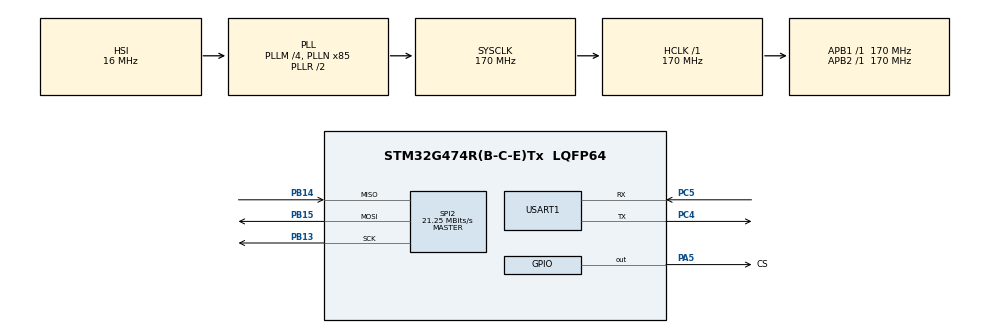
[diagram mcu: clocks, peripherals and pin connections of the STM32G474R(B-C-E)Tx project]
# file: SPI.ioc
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Mcu.Family=STM32G4
Mcu.Name=STM32G474R(B-C-E)Tx
Mcu.Package=LQFP64
NVIC.PriorityGroup=NVIC_PRIORITYGROUP_4
PA13.GPIO_Label=T_SWDIO
PA13.Mode=Serial_Wire
PA13.Signal=SYS_JTMS-SWDIO
PA14.GPIO_Label=T_SWCLK
PA14.Mode=Serial_Wire
PA14.Signal=SYS_JTCK-SWCLK
PA2.GPIO_Label=LPUART1_TX [STLINKV3E_VCP_RX]
PA2.Signal=LPUART1_TX
PA3.GPIO_Label=LPUART1_RX [STLINKV3E_VCP_TX]
PA3.Signal=LPUART1_RX
PA5.GPIO_Label=CS
PA5.Signal=GPIO_Output
PB13.Mode=Full_Duplex_Master
PB13.Signal=SPI2_SCK
PB14.Mode=Full_Duplex_Master
PB14.Signal=SPI2_MISO
PB15.Mode=Full_Duplex_Master
PB15.Signal=SPI2_MOSI
PB3.GPIO_Label=T_SWO
PB3.Signal=SYS_JTDO-SWO
PC14-OSC32_IN.GPIO_Label=RCC_OSC32_IN
PC14-OSC32_IN.Mode=LSE-External-Oscillator
PC14-OSC32_IN.Signal=RCC_OSC32_IN
PC15-OSC32_OUT.GPIO_Label=RCC_OSC32_OUT
PC15-OSC32_OUT.Mode=LSE-External-Oscillator
PC15-OSC32_OUT.Signal=RCC_OSC32_OUT
PC4.Mode=Asynchronous
PC4.Signal=USART1_TX
PC5.Mode=Asynchronous
PC5.Signal=USART1_RX
PF0-OSC_IN.GPIO_Label=RCC_OSC_IN
PF0-OSC_IN.Mode=HSE-External-Oscillator
PF0-OSC_IN.Signal=RCC_OSC_IN
PF1-OSC_OUT.GPIO_Label=RCC_OSC_OUT
PF1-OSC_OUT.Mode=HSE-External-Oscillator
PF1-OSC_OUT.Signal=RCC_OSC_OUT
ProjectManager.HeapSize=0x200
ProjectManager.StackSize=0x400
ProjectManager.TargetToolchain=CMake
RCC.ADC12Freq_Value=170000000
RCC.ADC345Freq_Value=170000000
RCC.AHBFreq_Value=170000000
RCC.APB1Freq_Value=170000000
RCC.APB1TimFreq_Value=170000000
RCC.APB2Freq_Value=170000000
RCC.APB2TimFreq_Value=170000000
RCC.CortexFreq_Value=170000000
RCC.EXTERNAL_CLOCK_VALUE=12288000
RCC.HCLKFreq_Value=170000000
RCC.HSE_VALUE=24000000
RCC.HSI48_VALUE=48000000
RCC.HSI_VALUE=16000000
RCC.PLLM=RCC_PLLM_DIV4
RCC.PLLN=85
RCC.RTCClockSelection=RCC_RTCCLKSOURCE_LSE
RCC.SYSCLKFreq_VALUE=170000000
RCC.SYSCLKSource=RCC_SYSCLKSOURCE_PLLCLK
RCC.USBFreq_Value=170000000
RCC.VCOOutputFreq_Value=340000000
SPI2.BaudRatePrescaler=SPI_BAUDRATEPRESCALER_8
SPI2.CalculateBaudRate=21.25 MBits/s
SPI2.DataSize=SPI_DATASIZE_16BIT
SPI2.Direction=SPI_DIRECTION_2LINES
SPI2.Mode=SPI_MODE_MASTER
SPI2.VirtualType=VM_MASTER
USART1.VirtualMode-Asynchronous=VM_ASYNC
VP_SYS_VS_DBSignals.Mode=DisableDeadBatterySignals
board=NUCLEO-G474RE

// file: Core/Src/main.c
/* USER CODE BEGIN Header */
/**
  ******************************************************************************
  * @file           : main.c
  * @brief          : Main program body
  ******************************************************************************
  * @attention
  *
  * Copyright (c) 2025 STMicroelectronics.
  * All rights reserved.
  *
  * This software is licensed under terms that can be found in the LICENSE file
  * in the root directory of this software component.
  * If no LICENSE file comes with this software, it is provided AS-IS.
  *
  ******************************************************************************
  */
/* USER CODE END Header */
#include "main.h"
#include "spi.h"
#include "usart.h"
#include "gpio.h"

/* USER CODE BEGIN Includes */
#include "AD9834.h"
#include "AD7705.h"
#include "stdio.h"
#include "string.h"
/* USER CODE END Includes */

/* USER CODE BEGIN PV */
AD7705_HandleTypeDef hadc1;
volatile uint8_t dataReady = 0;
/* USER CODE END PV */

void SystemClock_Config(void);

int main(void)
{

  /* MCU Configuration--------------------------------------------------------*/

  /* Reset of all peripherals, Initializes the Flash interface and the Systick. */
  HAL_Init();

  /* Configure the system clock */
  SystemClock_Config();

  /* Initialize all configured peripherals */
  MX_GPIO_Init();
  MX_USART1_UART_Init();
  MX_SPI2_Init();
  /* USER CODE BEGIN 2 */
  AD9834_Init(&hspi2,CS_GPIO_Port,CS_Pin,75000000);

  // 配置AD7705
  hadc1.hspi = &hspi2;
  hadc1.cs_port = GPIOB;
  hadc1.cs_pin = GPIO_PIN_0;
  hadc1.drdy_port = GPIOC;
  hadc1.drdy_pin = GPIO_PIN_13;
  hadc1.reset_port = GPIOB;
  hadc1.reset_pin = GPIO_PIN_1;
  hadc1.vref = 3.3f; // 参考电压3.3V

  // 初始化AD7705
  AD7705_Init(&hadc1);

  // 配置通道1 (AIN1+, AIN1-), 增益1, 双极性
  AD7705_SetupChannel(&hadc1, AD7705_CH_AIN1, AD7705_GAIN_1, AD7705_BIPOLAR, AD7705_FILTER_50HZ);

  // 配置通道2 (AIN2+, AIN2-), 增益1, 双极性
  AD7705_SetupChannel(&hadc1, AD7705_CH_AIN2, AD7705_GAIN_1, AD7705_BIPOLAR, AD7705_FILTER_50HZ);

  char uartBuf[100];
  uint16_t adcValue1, adcValue2;
  float voltage1, voltage2;

  /* USER CODE END 2 */

  /* Infinite loop */
  /* USER CODE BEGIN WHILE */
  while (1)
  {
    // 读取通道1
    adcValue1 = AD7705_ReadData(&hadc1, AD7705_CH_AIN1);
    voltage1 = AD7705_ConvertToVoltage(&hadc1, adcValue1, AD7705_GAIN_1, AD7705_BIPOLAR);

    // 读取通道2
    adcValue2 = AD7705_ReadData(&hadc1, AD7705_CH_AIN2);
    voltage2 = AD7705_ConvertToVoltage(&hadc1, adcValue2, AD7705_GAIN_1, AD7705_BIPOLAR);

    // 通过串口发送数据
    sprintf(uartBuf, "CH1: %.3fV, CH2: %.3fV\r\n", voltage1, voltage2);
    HAL_UART_Transmit(&huart1, (uint8_t*)uartBuf, strlen(uartBuf), HAL_MAX_DELAY);

    // 10Hz刷新率
    HAL_Delay(100);
    /* USER CODE END WHILE */

  }
}

void SystemClock_Config(void)
{
  RCC_OscInitTypeDef RCC_OscInitStruct = {0};
  RCC_ClkInitTypeDef RCC_ClkInitStruct = {0};

  /** Configure the main internal regulator output voltage
  */
  HAL_PWREx_ControlVoltageScaling(PWR_REGULATOR_VOLTAGE_SCALE1_BOOST);

  /** Initializes the RCC Oscillators according to the specified parameters
  * in the RCC_OscInitTypeDef structure.
  */
  RCC_OscInitStruct.OscillatorType = RCC_OSCILLATORTYPE_HSI;
  RCC_OscInitStruct.HSIState = RCC_HSI_ON;
  RCC_OscInitStruct.HSICalibrationValue = RCC_HSICALIBRATION_DEFAULT;
  RCC_OscInitStruct.PLL.PLLState = RCC_PLL_ON;
  RCC_OscInitStruct.PLL.PLLSource = RCC_PLLSOURCE_HSI;
  RCC_OscInitStruct.PLL.PLLM = RCC_PLLM_DIV4;
  RCC_OscInitStruct.PLL.PLLN = 85;
  RCC_OscInitStruct.PLL.PLLP = RCC_PLLP_DIV2;
  RCC_OscInitStruct.PLL.PLLQ = RCC_PLLQ_DIV2;
  RCC_OscInitStruct.PLL.PLLR = RCC_PLLR_DIV2;
  if (HAL_RCC_OscConfig(&RCC_OscInitStruct) != HAL_OK)
  {
    Error_Handler();
  }

  /** Initializes the CPU, AHB and APB buses clocks
  */
  RCC_ClkInitStruct.ClockType = RCC_CLOCKTYPE_HCLK|RCC_CLOCKTYPE_SYSCLK
                              |RCC_CLOCKTYPE_PCLK1|RCC_CLOCKTYPE_PCLK2;
  RCC_ClkInitStruct.SYSCLKSource = RCC_SYSCLKSOURCE_PLLCLK;
  RCC_ClkInitStruct.AHBCLKDivider = RCC_SYSCLK_DIV1;
  RCC_ClkInitStruct.APB1CLKDivider = RCC_HCLK_DIV1;
  RCC_ClkInitStruct.APB2CLKDivider = RCC_HCLK_DIV1;

  if (HAL_RCC_ClockConfig(&RCC_ClkInitStruct, FLASH_LATENCY_4) != HAL_OK)
  {
    Error_Handler();
  }
}

void Error_Handler(void)
{
  __disable_irq();
  while (1)
  {
  }
}
